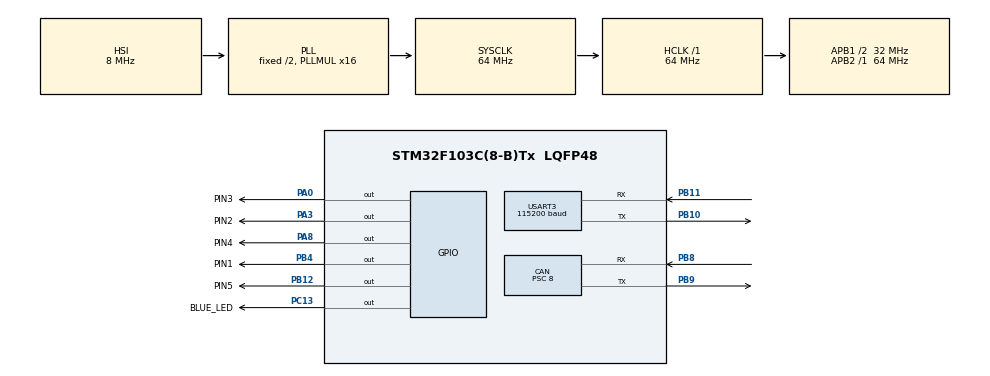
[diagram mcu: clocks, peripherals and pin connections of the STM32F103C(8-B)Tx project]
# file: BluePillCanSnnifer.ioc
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CAN.BS1=CAN_BS1_13TQ
CAN.BS2=CAN_BS2_2TQ
CAN.CalculateBaudRate=250000
CAN.CalculateTimeBit=4000.00
CAN.CalculateTimeQuantum=250.0
CAN.Prescaler=8
Mcu.Family=STM32F1
Mcu.Name=STM32F103C(8-B)Tx
Mcu.Package=LQFP48
NVIC.PriorityGroup=NVIC_PRIORITYGROUP_4
NVIC.TIM2_IRQn=true\:0\:0\:false\:false\:true\:true\:true
NVIC.USART3_IRQn=true\:0\:0\:false\:false\:true\:true\:true
NVIC.USB_LP_CAN1_RX0_IRQn=true\:0\:0\:false\:false\:true\:true\:true
PA0-WKUP.GPIO_Label=PIN3
PA0-WKUP.Signal=GPIO_Output
PA13.Mode=Serial_Wire
PA13.Signal=SYS_JTMS-SWDIO
PA14.Mode=Serial_Wire
PA14.Signal=SYS_JTCK-SWCLK
PA3.GPIO_Label=PIN2
PA3.Signal=GPIO_Output
PA8.GPIO_Label=PIN4
PA8.Signal=GPIO_Output
PB10.Mode=Asynchronous
PB10.Signal=USART3_TX
PB11.Mode=Asynchronous
PB11.Signal=USART3_RX
PB12.GPIO_Label=PIN5
PB12.Signal=GPIO_Output
PB4.GPIO_Label=PIN1
PB4.Signal=GPIO_Output
PB8.Mode=CAN_Activate
PB8.Signal=CAN_RX
PB9.Mode=CAN_Activate
PB9.Signal=CAN_TX
PC13-TAMPER-RTC.GPIO_Label=BLUE_LED
PC13-TAMPER-RTC.Signal=GPIO_Output
ProjectManager.HeapSize=0x200
ProjectManager.StackSize=0x400
ProjectManager.TargetToolchain=STM32CubeIDE
RCC.AHBFreq_Value=64000000
RCC.APB1CLKDivider=RCC_HCLK_DIV2
RCC.APB1Freq_Value=32000000
RCC.APB1TimFreq_Value=64000000
RCC.APB2Freq_Value=64000000
RCC.APB2TimFreq_Value=64000000
RCC.HCLKFreq_Value=64000000
RCC.PLLMUL=RCC_PLL_MUL16
RCC.SYSCLKFreq_VALUE=64000000
RCC.SYSCLKSource=RCC_SYSCLKSOURCE_PLLCLK
RCC.USBFreq_Value=64000000
TIM2.Period=1000-1
TIM2.Prescaler=32-1
USART3.BaudRate=115200
USART3.VirtualMode=VM_ASYNC
VP_TIM2_VS_ClockSourceINT.Mode=Internal
board=custom

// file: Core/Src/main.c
/* USER CODE BEGIN Header */
/**
 ******************************************************************************
 * @file           : main.c
 * @brief          : Main program body
 ******************************************************************************
 * @attention
 *
 * <h2><center>&copy; Copyright (c) 2021 STMicroelectronics.
 * All rights reserved.</center></h2>
 *
 * This software component is licensed by ST under BSD 3-Clause license,
 * the "License"; You may not use this file except in compliance with the
 * License. You may obtain a copy of the License at:
 *                        opensource.org/licenses/BSD-3-Clause
 *
 ******************************************************************************
 */
/* USER CODE END Header */
#include "main.h"

/* USER CODE BEGIN Includes */
#include "stdio.h"
#include "string.h"
#include "cobs.h"
#include "cQueue.h"
/* USER CODE END Includes */

/* USER CODE BEGIN PTD */
typedef struct qCmd {
	uint8_t commnddBuff[20];
	uint8_t commandSize;
} EnueuedCommand;

typedef struct qCANMsg {
	uint8_t data[8];
	CAN_RxHeaderTypeDef header;
} EncuedCANMsg;

typedef enum {
	SNIFFER_STOPPED = 0x00, SNIFFER_ACTIVE = 0x01,
} SnifferAtivityStatus;

/* USER CODE END PTD */

/* USER CODE BEGIN PD */
#define	IMPLEMENTATION	FIFO
/* USER CODE END PD */

CAN_HandleTypeDef hcan;

TIM_HandleTypeDef htim2;

UART_HandleTypeDef huart3;

/* USER CODE BEGIN PV */

// CAN Callback variables
CAN_RxHeaderTypeDef rxMessageHeader;
uint8_t rxDataReceived[8];

// UART Callback variables
#define SIZE_RX 20

uint8_t rxUARTBuff[1] = { 0 };
uint8_t rxCommandBuff[SIZE_RX] = { 0 };
volatile uint8_t cursor = 0;
uint8_t decodedCommand[20] = { 0 };

#define CMD_QUEUE_SIZE 100
Queue_t commandQueue;
EnueuedCommand decuedComand;

#define CAN_MSSG_QUEUE_SIZE 100
Queue_t canMsgQueue;
EncuedCANMsg decuedCANMssg;

SnifferAtivityStatus snifferAtivityStatus = SNIFFER_STOPPED;

volatile uint32_t miliseconds = 0;

/* USER CODE END PV */

void SystemClock_Config(void);
static void MX_GPIO_Init(void);
static void MX_CAN_Init(void);
static void MX_USART3_UART_Init(void);
static void MX_TIM2_Init(void);
/* USER CODE BEGIN PFP */

int __io_putchar(int);
void blueLEDIndicator(void);
void blinkLed();
void setSinfferCANFilter(void);
void processCANMsg(void);
void processComand(void);
void processBitRateCommand();
void processMessageComand(void);
void processLoopBackModeCommand(void);
void processRebootCommand(void);
void processActivitySniferComand();
void sendCANMDummyessage(void);
uint32_t sendCANMessage(uint8_t, uint32_t, bool, bool, uint8_t*);
void setSinfferCANFilter(void);
void setDatagramTypeIdentifer(uint32_t, uint32_t, uint8_t*, uint8_t*);
void setFormatedDatagramIdentifer(uint32_t, uint8_t*, uint8_t*, int);
void setDatagramIdentifer(CAN_RxHeaderTypeDef, uint8_t*, uint8_t*);
void setDLC(uint32_t, uint8_t*, uint8_t*);
void setData(uint8_t*, int, uint8_t*, uint8_t*);
uint8_t serializeDatagram(uint8_t*, CAN_RxHeaderTypeDef, uint8_t*);
void HAL_CAN_RxFifo0MsgPendingCallback(CAN_HandleTypeDef*);
void processCANMsg(void);
void HAL_UART_RxCpltCallback(UART_HandleTypeDef*);
void substr(char *str, char*, int, int);
int toInteger(uint8_t *stringToConvert, int len);
void HAL_TIM_PeriodElapsedCallback(TIM_HandleTypeDef *htim);
void ErrorAppHandler(void);
/* USER CODE END PFP */

/* USER CODE BEGIN 0 */

int __io_putchar(int ch) {
	HAL_UART_Transmit(&huart3, (uint8_t*) &ch, 1, 100);
	return ch;
}
#define NUMBER_BLINKS 20
void blueLEDIndicator(void) {
	int blinkCounter = 0;
	while (blinkCounter < NUMBER_BLINKS) {
		HAL_GPIO_TogglePin(BLUE_LED_GPIO_Port, BLUE_LED_Pin);
		HAL_GPIO_TogglePin(PIN2_GPIO_Port, PIN2_Pin);
		HAL_Delay(30);
		blinkCounter++;
	}
	HAL_GPIO_WritePin(BLUE_LED_GPIO_Port, BLUE_LED_Pin, GPIO_PIN_SET);
	HAL_GPIO_WritePin(PIN2_GPIO_Port, PIN2_Pin, GPIO_PIN_SET);
}

void ErrorAppHandler(void) {
	// Display something went wrong :(

	 blueLEDIndicator();
}

void sendCANDummyMessage(void) {
	uint32_t TxMailbox;
	CAN_TxHeaderTypeDef pHeader;
	pHeader.DLC = 8; //give message size of 1 byte
	pHeader.IDE = CAN_ID_STD; //set identifier to standard
	pHeader.RTR = CAN_RTR_DATA; //set data type to remote transmission request?CAN_RTR_DATA
	pHeader.StdId = 0x200; //define a standard identifier, used for message identification by filters (switch this for the other microcontroller)
	//uint8_t messageLoadBuffer[8] = {'B','L','A','C','K','_','&','#'};
	uint8_t messageLoadBuffer[8] = { 42, 0x4c, 0x41, 0x43, 0x4b, 0x5f, 0x26,
			0x23 };
	if (HAL_CAN_AddTxMessage(&hcan, &pHeader, messageLoadBuffer, &TxMailbox)
			!= HAL_OK) {
		ErrorAppHandler();
	}
}
uint32_t sendCANMessage(uint8_t dlc, uint32_t msgID, bool isRTR,
		bool isStandard, uint8_t *data) {

	uint32_t TxMailbox;
	CAN_TxHeaderTypeDef pHeader;
	pHeader.DLC = dlc;

	if (isStandard) {
		pHeader.IDE = CAN_ID_STD;
		pHeader.StdId = msgID;
	} else {
		pHeader.IDE = CAN_ID_EXT;
		pHeader.ExtId = msgID;
	}
	if (isRTR) {
		pHeader.RTR = CAN_RTR_REMOTE;
	} else {
		pHeader.RTR = CAN_RTR_DATA;
	}

	HAL_CAN_AddTxMessage(&hcan, &pHeader, data, &TxMailbox);
	return TxMailbox;
}
void setSinfferCANFilter(void) {
	/* Default filter - accept all to CAN_FIFO*/
	CAN_FilterTypeDef sFilterConfig;
	sFilterConfig.FilterBank = 0;
	sFilterConfig.FilterIdHigh = 0x00005;
	sFilterConfig.FilterBank = 0x0000;
	sFilterConfig.FilterMode = CAN_FILTERMODE_IDMASK;
	sFilterConfig.FilterScale = CAN_FILTERSCALE_32BIT;
	sFilterConfig.FilterIdHigh = 0x200 << 5;  //11-bit ID, in top bits
	sFilterConfig.FilterIdLow = 0x0000;
	sFilterConfig.FilterMaskIdHigh = 0x0000;
	sFilterConfig.FilterMaskIdLow = 0x0000;
	sFilterConfig.FilterFIFOAssignment = CAN_FILTER_FIFO0;
	sFilterConfig.FilterActivation = ENABLE;
	if (HAL_CAN_ConfigFilter(&hcan, &sFilterConfig) != HAL_OK) {
		ErrorAppHandler();
	}

}
void setDatagramTypeIdentifer(uint32_t ide, uint32_t rtr, uint8_t *pExitBuffer,
		uint8_t *pCursor) {
	if (ide == CAN_ID_STD) {
		if (rtr == CAN_RTR_DATA) {
			pExitBuffer[*pCursor] = 't';
		} else if (rtr == CAN_RTR_REMOTE) {
			pExitBuffer[*pCursor] = 'r';
		}
	} else if (ide == CAN_ID_EXT) {

		if (rtr == CAN_RTR_DATA) {
			pExitBuffer[*pCursor] = 'T';
		} else if (rtr == CAN_RTR_REMOTE) {
			pExitBuffer[*pCursor] = 'R';
		}
	}
	*pCursor = *pCursor + 1;
}
void setFormatedDatagramIdentifer(uint32_t idNum, uint8_t *pExitBuffer,
		uint8_t *pCursor, int len) {

	char *id = (char*) malloc(sizeof(char) * (len + 1));
	int numOfDigits = 0;
	int valueToConsume = idNum;

	while (valueToConsume != 0) {
		valueToConsume /= 10;     // n = n/10
		++numOfDigits;
	}

	sprintf(id + (len - numOfDigits), "%d", (int) idNum);
	for (int eraser = 0; eraser < (len - numOfDigits); eraser++) {
		id[eraser] = '0';
	}
	strcpy((char*) pExitBuffer + *pCursor, id);
	free(id);
	*pCursor = *pCursor + len;
}

void setDatagramIdentifer(CAN_RxHeaderTypeDef receivedCANHeader,
		uint8_t *pExitBuffer, uint8_t *pCursor) {
	if (receivedCANHeader.IDE == CAN_ID_EXT) {
		setFormatedDatagramIdentifer(receivedCANHeader.ExtId, pExitBuffer,
				pCursor, 9);
	}
	if (receivedCANHeader.IDE == CAN_ID_STD) {
		setFormatedDatagramIdentifer(receivedCANHeader.StdId, pExitBuffer,
				pCursor, 4);

	}
}
void setDLC(uint32_t dlc, uint8_t *pExitBuffer, uint8_t *pCursor) {
	sprintf((char*) pExitBuffer + *pCursor, "%d", (int) dlc);
	*pCursor = *pCursor + 1;
}

void setData(uint8_t *data, int dlc, uint8_t *pExitBuffer, uint8_t *pCursor) {
	for (int counter = 0; counter < dlc; counter++) {
		pExitBuffer[*pCursor + counter] = data[counter];
	}
	*pCursor = *pCursor + dlc;
}

uint8_t serializeDatagram(uint8_t *pExitBuffer,
		CAN_RxHeaderTypeDef receivedCANHeader, uint8_t *rxData) {

	uint8_t cursor = 0;

	setDatagramTypeIdentifer(receivedCANHeader.IDE, receivedCANHeader.RTR,
			pExitBuffer, &cursor);
	setDatagramIdentifer(receivedCANHeader, pExitBuffer, &cursor);
	setDLC(receivedCANHeader.DLC, pExitBuffer, &cursor);
	if (receivedCANHeader.RTR == CAN_RTR_DATA) {
		setData(rxData, receivedCANHeader.DLC, pExitBuffer, &cursor);
	}

	return cursor;
}

#define ZERO_BYTE '0x00'

void HAL_CAN_RxFifo0MsgPendingCallback(CAN_HandleTypeDef *hcan) {
	if (HAL_CAN_GetRxMessage(hcan, CAN_RX_FIFO0, &rxMessageHeader,
			rxDataReceived) == HAL_OK) {

		EncuedCANMsg msg;
		msg.header = rxMessageHeader;
		strcpy((char*) msg.data, (char*) rxDataReceived);
		q_push(&canMsgQueue, &msg);
	} else {
		ErrorAppHandler();
	}

}

void processCANMsg() {

	uint8_t parsedDatagram[24] = { 0 };
	uint8_t lenParsed = serializeDatagram(parsedDatagram, decuedCANMssg.header,
			decuedCANMssg.data);

	uint8_t encodedDatagram[24] = { 0 };
	cobs_encode_result result = cobs_encode(encodedDatagram, 24, parsedDatagram,
			lenParsed + 1);

	if (result.status == COBS_ENCODE_OK) {
		// Append Zero byte to delimiter frame boundary
		encodedDatagram[result.out_len + 1] = 0x00;
		HAL_UART_Transmit(&huart3, encodedDatagram, result.out_len + 1, 50);

		// Toggle monitoring line to indicate a successful datagram retransmission
		HAL_GPIO_TogglePin(PIN2_GPIO_Port, PIN2_Pin);
	}
}

#define NUMBER_BOOT_BLINKS 5

void blinkLed() {
	int blinkCounter = 0;
	while (blinkCounter < NUMBER_BOOT_BLINKS) {
		HAL_GPIO_TogglePin(BLUE_LED_GPIO_Port, BLUE_LED_Pin);
		HAL_Delay(50);
		blinkCounter++;
	}
	HAL_GPIO_WritePin(BLUE_LED_GPIO_Port, BLUE_LED_Pin, GPIO_PIN_SET);
}

void HAL_UART_RxCpltCallback(UART_HandleTypeDef *huart) {
	if (huart->Instance == huart3.Instance) {
		HAL_GPIO_TogglePin(PIN1_GPIO_Port, PIN1_Pin);
		rxCommandBuff[cursor] = rxUARTBuff[0];
		cursor++;
		if (cursor >= SIZE_RX) {
			cursor = 0;
		}
		if (rxUARTBuff[0] == 0x00) {
			EnueuedCommand pendingCmd;
			strcpy((char*) pendingCmd.commnddBuff, (char*) rxCommandBuff);
			pendingCmd.commandSize = cursor - 1;
			if (!q_isFull(&commandQueue)) {
				q_push(&commandQueue, &pendingCmd);
			}
			cursor = 0;
			HAL_GPIO_TogglePin(PIN2_GPIO_Port, PIN2_Pin);
		}

		HAL_UART_Receive_IT(&huart3, rxUARTBuff, 1);
	}

}

void substr(char *str, char *sub, int start, int len) {
	memcpy(sub, &str[start], len);
	sub[len] = '\0';
}
int toInteger(uint8_t *stringToConvert, int len) {
	int counter = len - 1;
	int exp = 1;
	int value = 0;
	while (counter >= 0) {
		value = value + (stringToConvert[counter] - '0') * exp;
		exp = exp * 10;
		counter--;
	}
	return value;
}

void processMessageComand() {
	uint8_t cursor = 1;

	if (decodedCommand[cursor] == 'T') {
		cursor++;
		uint8_t messageID_str[9];
		substr((char*) decodedCommand, (char*) messageID_str, cursor, 9);

		int msgID = toInteger(messageID_str, 9);
		cursor += 9;

		uint8_t dlc_str[1];
		substr((char*) decodedCommand, (char*) dlc_str, cursor, 1);
		uint8_t dlc = atoi((char*) dlc_str);

		cursor++;
		uint8_t data[8];
		substr((char*) decodedCommand, (char*) data, cursor, 8);

		sendCANMessage(dlc, msgID, false, false, data);

	} else if (decodedCommand[cursor] == 'R') {
		cursor++;
		uint8_t messageID_str[9];
		substr((char*) decodedCommand, (char*) messageID_str, cursor, 9);

		int msgID = toInteger(messageID_str, 9);
		cursor += 9;

		uint8_t dlc_str[1];
		substr((char*) decodedCommand, (char*) dlc_str, cursor, 1);
		uint8_t dlc = toInteger(dlc_str, 1);

		sendCANMessage(dlc, msgID, true, false, 0x00);
	} else if (decodedCommand[cursor] == 't') {
		cursor++;
		uint8_t messageID_str[4];
		substr((char*) decodedCommand, (char*) messageID_str, cursor, 4);
		int msgID = toInteger(messageID_str, 4);
		cursor += 4;

		uint8_t dlc_str[1];
		substr((char*) decodedCommand, (char*) dlc_str, cursor, 1);
		uint8_t dlc = toInteger(dlc_str, 1);

		cursor++;
		uint8_t data[8];
		substr((char*) decodedCommand, (char*) data, cursor, 8);

		sendCANMessage(dlc, msgID, false, true, data);

	} else if (decodedCommand[cursor] == 'r') {
		cursor++;
		uint8_t messageID_str[4];
		substr((char*) decodedCommand, (char*) messageID_str, cursor, 4);
		int msgID = toInteger(messageID_str, 4);
		cursor += 4;

		uint8_t dlc_str[1];
		substr((char*) decodedCommand, (char*) dlc_str, cursor, 1);
		uint8_t dlc = atoi((char*) dlc_str);

		sendCANMessage(dlc, msgID, true, true, 0x00);
	}

}

void processBitRateCommand() {

	uint8_t bitrateSrt[3];
	substr((char*) decodedCommand, (char*) bitrateSrt, 1, 3);
	int bitRate = toInteger(bitrateSrt, 3);

	bool idetified = false;

	switch (bitRate) {
	case 10:
		hcan.Init.Prescaler = 300;
		idetified = true;
		break;
	case 20:
		hcan.Init.Prescaler = 150;
		idetified = true;
		break;
	case 50:
		hcan.Init.Prescaler = 60;
		idetified = true;
		break;
	case 100:
		hcan.Init.Prescaler = 30;
		idetified = true;
		break;
	case 125:
		hcan.Init.Prescaler = 24;
		idetified = true;
		break;
	case 250:
		hcan.Init.Prescaler = 12;
		idetified = true;
		break;
	case 500:
		hcan.Init.Prescaler = 6;
		idetified = true;
		break;
	}
	if (idetified) {
		if (HAL_CAN_DeInit(&hcan) != HAL_OK) {
			ErrorAppHandler();
		}
		if (HAL_CAN_Init(&hcan) != HAL_OK) {
			ErrorAppHandler();
		}
		setSinfferCANFilter();
		if (HAL_CAN_Start(&hcan) != HAL_OK) {
			ErrorAppHandler();
		}
		if (snifferAtivityStatus != SNIFFER_STOPPED) {
			if (HAL_CAN_ActivateNotification(&hcan, CAN_IT_RX_FIFO0_MSG_PENDING)
					!= HAL_OK) {
				ErrorAppHandler();
			}
		}
	}
}

void processLoopBackModeCommand() {

	uint8_t mode[2];
	bool idetified = false;
	substr((char*) decodedCommand, (char*) mode, 1, 2);
	if (!strcmp((char*) mode, "LB")) {
		hcan.Init.Mode = CAN_MODE_LOOPBACK;
		idetified = true;
	} else if (!strcmp((char*) mode, "SM")) {
		hcan.Init.Mode = CAN_MODE_SILENT;
		idetified = true;
	} else if (!strcmp((char*) mode, "NM")) {
		hcan.Init.Mode = CAN_MODE_NORMAL;
		idetified = true;
	} else if (!strcmp((char*) mode, "SL")) {
		hcan.Init.Mode = CAN_MODE_SILENT_LOOPBACK;
		idetified = true;
	}
	if (idetified) {
		if (HAL_CAN_DeInit(&hcan) != HAL_OK) {
			ErrorAppHandler();
		}
		if (HAL_CAN_Init(&hcan) != HAL_OK) {
			ErrorAppHandler();
		}
		setSinfferCANFilter();
		if (HAL_CAN_Start(&hcan) != HAL_OK) {
			ErrorAppHandler();
		}
		if (snifferAtivityStatus != SNIFFER_STOPPED) {
			if (HAL_CAN_ActivateNotification(&hcan, CAN_IT_RX_FIFO0_MSG_PENDING)
					!= HAL_OK) {
				ErrorAppHandler();
			}
		}
	}
}

void processActivitySniferComand() {

	uint8_t activityMode[2];
	substr((char*) decodedCommand, (char*) activityMode, 1, 3);
	if (!strcmp((char*) activityMode, "ON_")) {
		if (HAL_CAN_ActivateNotification(&hcan, CAN_IT_RX_FIFO0_MSG_PENDING) != HAL_OK) {
			ErrorAppHandler();
		}
		snifferAtivityStatus = SNIFFER_ACTIVE;
	}
	else if (!strcmp((char*) activityMode, "OFF")) {
		snifferAtivityStatus = SNIFFER_STOPPED;
		if (HAL_CAN_DeactivateNotification(&hcan, CAN_IT_RX_FIFO0_MSG_PENDING) != HAL_OK) {
			ErrorAppHandler();
		}
	}
}

void processRebootCommand() {
	NVIC_SystemReset();
}

void processComand(void) {

	cobs_decode_result resutlt = cobs_decode(decodedCommand, 20,
			decuedComand.commnddBuff, decuedComand.commandSize);

	if (resutlt.status == COBS_DECODE_OK) {

		if (decodedCommand[0] == 'A') {
			// Change
			processActivitySniferComand();
		}
		if (decodedCommand[0] == 'M') {
			// Send a datagram to the CAN Bus
			processMessageComand();
		} else if (decodedCommand[0] == 'S') {
			// Change bit rate
			processBitRateCommand();
		} else if (decodedCommand[0] == 'N') {
			// Change Mode
			processLoopBackModeCommand();
		}	// Reboot Snifer
		else if (decodedCommand[0] == 'R') {
			processRebootCommand();
		}
	}
}
void HAL_TIM_PeriodElapsedCallback(TIM_HandleTypeDef *htim) {
	if (htim->Instance == TIM2) {
		miliseconds++;

		if (snifferAtivityStatus == SNIFFER_STOPPED) {
			HAL_GPIO_TogglePin(PIN4_GPIO_Port, PIN4_Pin);
		}

	}
}

/* USER CODE END 0 */

int main(void)
{

  /* MCU Configuration--------------------------------------------------------*/

  /* Reset of all peripherals, Initializes the Flash interface and the Systick. */
  HAL_Init();

  /* Configure the system clock */
  SystemClock_Config();

  /* Initialize all configured peripherals */
  MX_GPIO_Init();
  MX_CAN_Init();
  MX_USART3_UART_Init();
  MX_TIM2_Init();
  /* USER CODE BEGIN 2 */
	HAL_UART_Receive_IT(&huart3, rxUARTBuff, 1);
	setSinfferCANFilter();
	HAL_CAN_Start(&hcan);
	if (snifferAtivityStatus != SNIFFER_STOPPED) {
		HAL_CAN_ActivateNotification(&hcan, CAN_IT_RX_FIFO0_MSG_PENDING);
	}
	q_init(&canMsgQueue, sizeof(EncuedCANMsg), CAN_MSSG_QUEUE_SIZE,
			IMPLEMENTATION, false);
	q_init(&commandQueue, sizeof(EnueuedCommand), CMD_QUEUE_SIZE,
			IMPLEMENTATION, true);
	// Displays we are starting the main loop
	blueLEDIndicator();
	HAL_TIM_Base_Start_IT(&htim2);
  /* USER CODE END 2 */

  /* Infinite loop */
	while (1) {

    /* USER CODE BEGIN 3 */
		if (q_pop(&commandQueue, &decuedComand)) {
			processComand();
		}
		if (q_pop(&canMsgQueue, &decuedCANMssg)) {
			processCANMsg();
		}

	}
  /* USER CODE END 3 */
}

void SystemClock_Config(void)
{
  RCC_OscInitTypeDef RCC_OscInitStruct = {0};
  RCC_ClkInitTypeDef RCC_ClkInitStruct = {0};

  /** Initializes the RCC Oscillators according to the specified parameters
  * in the RCC_OscInitTypeDef structure.
  */
  RCC_OscInitStruct.OscillatorType = RCC_OSCILLATORTYPE_HSI;
  RCC_OscInitStruct.HSIState = RCC_HSI_ON;
  RCC_OscInitStruct.HSICalibrationValue = RCC_HSICALIBRATION_DEFAULT;
  RCC_OscInitStruct.PLL.PLLState = RCC_PLL_ON;
  RCC_OscInitStruct.PLL.PLLSource = RCC_PLLSOURCE_HSI_DIV2;
  RCC_OscInitStruct.PLL.PLLMUL = RCC_PLL_MUL16;
  if (HAL_RCC_OscConfig(&RCC_OscInitStruct) != HAL_OK)
  {
    Error_Handler();
  }
  /** Initializes the CPU, AHB and APB buses clocks
  */
  RCC_ClkInitStruct.ClockType = RCC_CLOCKTYPE_HCLK|RCC_CLOCKTYPE_SYSCLK
                              |RCC_CLOCKTYPE_PCLK1|RCC_CLOCKTYPE_PCLK2;
  RCC_ClkInitStruct.SYSCLKSource = RCC_SYSCLKSOURCE_PLLCLK;
  RCC_ClkInitStruct.AHBCLKDivider = RCC_SYSCLK_DIV1;
  RCC_ClkInitStruct.APB1CLKDivider = RCC_HCLK_DIV2;
  RCC_ClkInitStruct.APB2CLKDivider = RCC_HCLK_DIV1;

  if (HAL_RCC_ClockConfig(&RCC_ClkInitStruct, FLASH_LATENCY_2) != HAL_OK)
  {
    Error_Handler();
  }
}

static void MX_CAN_Init(void)
{

  hcan.Instance = CAN1;
  hcan.Init.Prescaler = 8;
  hcan.Init.Mode = CAN_MODE_NORMAL;
  hcan.Init.SyncJumpWidth = CAN_SJW_1TQ;
  hcan.Init.TimeSeg1 = CAN_BS1_13TQ;
  hcan.Init.TimeSeg2 = CAN_BS2_2TQ;
  hcan.Init.TimeTriggeredMode = DISABLE;
  hcan.Init.AutoBusOff = DISABLE;
  hcan.Init.AutoWakeUp = DISABLE;
  hcan.Init.AutoRetransmission = DISABLE;
  hcan.Init.ReceiveFifoLocked = DISABLE;
  hcan.Init.TransmitFifoPriority = DISABLE;
  if (HAL_CAN_Init(&hcan) != HAL_OK)
  {
    Error_Handler();
  }

}

static void MX_TIM2_Init(void)
{

  TIM_ClockConfigTypeDef sClockSourceConfig = {0};
  TIM_MasterConfigTypeDef sMasterConfig = {0};

  htim2.Instance = TIM2;
  htim2.Init.Prescaler = 32-1;
  htim2.Init.CounterMode = TIM_COUNTERMODE_UP;
  htim2.Init.Period = 1000-1;
  htim2.Init.ClockDivision = TIM_CLOCKDIVISION_DIV1;
  htim2.Init.AutoReloadPreload = TIM_AUTORELOAD_PRELOAD_DISABLE;
  if (HAL_TIM_Base_Init(&htim2) != HAL_OK)
  {
    Error_Handler();
  }
  sClockSourceConfig.ClockSource = TIM_CLOCKSOURCE_INTERNAL;
  if (HAL_TIM_ConfigClockSource(&htim2, &sClockSourceConfig) != HAL_OK)
  {
    Error_Handler();
  }
  sMasterConfig.MasterOutputTrigger = TIM_TRGO_RESET;
  sMasterConfig.MasterSlaveMode = TIM_MASTERSLAVEMODE_DISABLE;
  if (HAL_TIMEx_MasterConfigSynchronization(&htim2, &sMasterConfig) != HAL_OK)
  {
    Error_Handler();
  }

}

static void MX_USART3_UART_Init(void)
{

  huart3.Instance = USART3;
  huart3.Init.BaudRate = 115200;
  huart3.Init.WordLength = UART_WORDLENGTH_8B;
  huart3.Init.StopBits = UART_STOPBITS_1;
  huart3.Init.Parity = UART_PARITY_NONE;
  huart3.Init.Mode = UART_MODE_TX_RX;
  huart3.Init.HwFlowCtl = UART_HWCONTROL_NONE;
  huart3.Init.OverSampling = UART_OVERSAMPLING_16;
  if (HAL_UART_Init(&huart3) != HAL_OK)
  {
    Error_Handler();
  }

}

static void MX_GPIO_Init(void)
{
  GPIO_InitTypeDef GPIO_InitStruct = {0};

  /* GPIO Ports Clock Enable */
  __HAL_RCC_GPIOC_CLK_ENABLE();
  __HAL_RCC_GPIOA_CLK_ENABLE();
  __HAL_RCC_GPIOB_CLK_ENABLE();

  /*Configure GPIO pin Output Level */
  HAL_GPIO_WritePin(BLUE_LED_GPIO_Port, BLUE_LED_Pin, GPIO_PIN_RESET);

  /*Configure GPIO pin Output Level */
  HAL_GPIO_WritePin(GPIOA, PIN3_Pin|PIN2_Pin|PIN4_Pin, GPIO_PIN_RESET);

  /*Configure GPIO pin Output Level */
  HAL_GPIO_WritePin(GPIOB, PIN5_Pin|PIN1_Pin, GPIO_PIN_RESET);

  /*Configure GPIO pin : BLUE_LED_Pin */
  GPIO_InitStruct.Pin = BLUE_LED_Pin;
  GPIO_InitStruct.Mode = GPIO_MODE_OUTPUT_PP;
  GPIO_InitStruct.Pull = GPIO_NOPULL;
  GPIO_InitStruct.Speed = GPIO_SPEED_FREQ_LOW;
  HAL_GPIO_Init(BLUE_LED_GPIO_Port, &GPIO_InitStruct);

  /*Configure GPIO pins : PIN3_Pin PIN2_Pin PIN4_Pin */
  GPIO_InitStruct.Pin = PIN3_Pin|PIN2_Pin|PIN4_Pin;
  GPIO_InitStruct.Mode = GPIO_MODE_OUTPUT_PP;
  GPIO_InitStruct.Pull = GPIO_NOPULL;
  GPIO_InitStruct.Speed = GPIO_SPEED_FREQ_LOW;
  HAL_GPIO_Init(GPIOA, &GPIO_InitStruct);

  /*Configure GPIO pins : PIN5_Pin PIN1_Pin */
  GPIO_InitStruct.Pin = PIN5_Pin|PIN1_Pin;
  GPIO_InitStruct.Mode = GPIO_MODE_OUTPUT_PP;
  GPIO_InitStruct.Pull = GPIO_NOPULL;
  GPIO_InitStruct.Speed = GPIO_SPEED_FREQ_LOW;
  HAL_GPIO_Init(GPIOB, &GPIO_InitStruct);

}

void Error_Handler(void)
{
  /* USER CODE BEGIN Error_Handler_Debug */
	/* User can add his own implementation to report the HAL error return state */
	__disable_irq();
	while (1) {
		asm("NOP");
	}
  /* USER CODE END Error_Handler_Debug */
}

/************************ (C) COPYRIGHT STMicroelectronics *****END OF FILE****/
